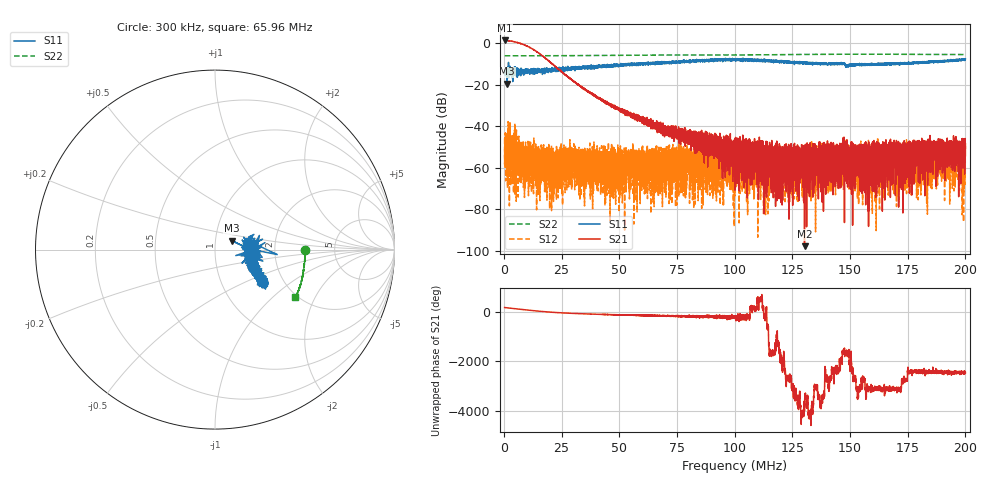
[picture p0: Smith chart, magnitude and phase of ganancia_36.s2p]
# Hz S DB R 50
! CMT, M5065, 19127446, 24.2.4/2
! Date: 11/8/2024 6:41:17 PM
! Data: Format (Calibration Info)
! Freq	S11:dB/Ang(F2)	S21:dB/Ang(F2)	S12:dB/Ang(F2)	S22:dB/Ang(F2)
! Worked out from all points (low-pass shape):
!   9000 points, 300 kHz to 200 MHz, reference 50 ohm
!   highest |S21| = 1.41 dB at 322.2 kHz (marker M1); lowest = -97.8 dB at 130.3 MHz (marker M2)
!   |S21| within 3 dB of the highest: start of sweep to 10.52 MHz
!   lowest |S11| = -19.4 dB at 1.41 MHz (marker M3), VSWR 1.24, Z = 60.1 + j6.05 ohm
!   |S11| at or under -10 dB: 1.99 MHz to 47.54 MHz (45.55 MHz wide, 184 % of centre); 48.62 MHz to 50.64 MHz (2.018 MHz wide, 4.07 % of centre); 147.9 MHz to 149.7 MHz (1.861 MHz wide, 1.25 % of centre)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
!   |S22| runs from -6.0 to -5.2 dB; largest |S21 - S12| = 1.2
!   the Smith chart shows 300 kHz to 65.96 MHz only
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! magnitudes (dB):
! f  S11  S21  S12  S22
! 300 kHz  -14.8  1.4  -45.9  -6.0
! 322.2 kHz  -13.3  1.4  -58.4  -6.0
! 1.41 MHz  -19.4  1.3  -52.2  -6.0
! 15.06 MHz  -13.3  -4.6  -52.7  -6.0
! 33.59 MHz  -11.6  -20.9  -59.8  -5.9
! 66.87 MHz  -9.4  -38.9  -55.0  -5.7
! 100.2 MHz  -7.7  -51.4  -59.4  -5.6
! 111.5 MHz  -8.4  -52.5  -50.2  -5.5
! 120 MHz  -8.5  -64.1  -60.2  -5.4
! 122.5 MHz  -8.7  -56.8  -54.1  -5.4
! 124.4 MHz  -8.9  -51.2  -59.0  -5.4
! 126.5 MHz  -8.9  -64.4  -54.8  -5.4
! 130.3 MHz  -9.3  -97.8  -57.8  -5.3
! 133.4 MHz  -9.8  -51.3  -62.4  -5.3
! 141 MHz  -10.0  -58.0  -53.1  -5.3
! 148.3 MHz  -11.5  -51.8  -61.9  -5.2
! 150.4 MHz  -10.4  -52.0  -60.8  -5.2
! 157.1 MHz  -10.0  -52.8  -50.7  -5.2
! 159.3 MHz  -10.6  -51.4  -74.4  -5.2
! 166.7 MHz  -9.7  -51.1  -57.3  -5.2
! 187 MHz  -8.8  -52.5  -62.8  -5.3
! 200 MHz  -7.6  -50.6  -51.1  -5.4
